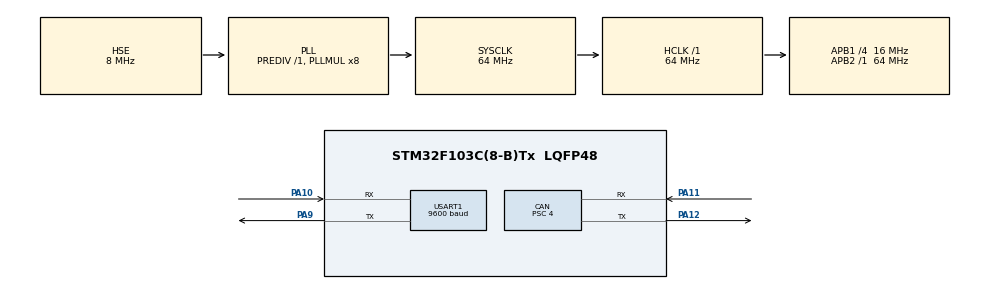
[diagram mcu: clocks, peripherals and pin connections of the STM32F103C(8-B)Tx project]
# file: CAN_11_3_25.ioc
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CAN.ABOM=ENABLE
CAN.AWUM=DISABLE
CAN.BS1=CAN_BS1_13TQ
CAN.BS2=CAN_BS2_2TQ
CAN.CalculateBaudRate=250000
CAN.CalculateTimeBit=4000
CAN.CalculateTimeQuantum=250.0
CAN.Mode=CAN_MODE_SILENT_LOOPBACK
CAN.NART=ENABLE
CAN.Prescaler=4
CAN.TXFP=ENABLE
Mcu.Family=STM32F1
Mcu.Name=STM32F103C(8-B)Tx
Mcu.Package=LQFP48
NVIC.CAN1_SCE_IRQn=true\:2\:0\:true\:false\:true\:true\:true\:true
NVIC.PriorityGroup=NVIC_PRIORITYGROUP_4
NVIC.USB_HP_CAN1_TX_IRQn=true\:3\:0\:true\:false\:true\:true\:true\:true
NVIC.USB_LP_CAN1_RX0_IRQn=true\:1\:0\:true\:false\:true\:true\:true\:true
PA10.Mode=Asynchronous
PA10.Signal=USART1_RX
PA11.GPIO_PuPd=GPIO_PULLUP
PA11.Mode=CAN_Activate
PA11.Signal=CAN_RX
PA12.Mode=CAN_Activate
PA12.Signal=CAN_TX
PA13.Mode=Trace_Asynchronous_SW
PA13.Signal=SYS_JTMS-SWDIO
PA14.Mode=Trace_Asynchronous_SW
PA14.Signal=SYS_JTCK-SWCLK
PA9.Mode=Asynchronous
PA9.Signal=USART1_TX
PB3.Mode=Trace_Asynchronous_SW
PB3.Signal=SYS_JTDO-TRACESWO
PD0-OSC_IN.Mode=HSE-External-Oscillator
PD0-OSC_IN.Signal=RCC_OSC_IN
PD1-OSC_OUT.Mode=HSE-External-Oscillator
PD1-OSC_OUT.Signal=RCC_OSC_OUT
ProjectManager.HeapSize=0x200
ProjectManager.StackSize=0x400
ProjectManager.TargetToolchain=CMake
RCC.AHBFreq_Value=64000000
RCC.APB1CLKDivider=RCC_HCLK_DIV4
RCC.APB1Freq_Value=16000000
RCC.APB1TimFreq_Value=32000000
RCC.APB2Freq_Value=64000000
RCC.APB2TimFreq_Value=64000000
RCC.HCLKFreq_Value=64000000
RCC.PLLMUL=RCC_PLL_MUL8
RCC.PLLSourceVirtual=RCC_PLLSOURCE_HSE
RCC.SYSCLKFreq_VALUE=64000000
RCC.SYSCLKSource=RCC_SYSCLKSOURCE_PLLCLK
RCC.USBFreq_Value=64000000
USART1.BaudRate=9600
USART1.VirtualMode=VM_ASYNC
board=custom

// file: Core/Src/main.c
/* USER CODE BEGIN Header */
/**
  ******************************************************************************
  * @file           : main.c
  * @brief          : Main program body
  ******************************************************************************
  * @attention
  *
  * Copyright (c) 2025 STMicroelectronics.
  * All rights reserved.
  *
  * This software is licensed under terms that can be found in the LICENSE file
  * in the root directory of this software component.
  * If no LICENSE file comes with this software, it is provided AS-IS.
  *
  ******************************************************************************
  */
/* USER CODE END Header */
#include "main.h"

/* USER CODE BEGIN Includes */

#include "UART_LED_Controller.h"
#include "CANbus.h"
#include <string.h>

/* USER CODE END Includes */

CAN_HandleTypeDef hcan;

UART_HandleTypeDef huart1;

/* USER CODE BEGIN PV */
UART_LED_Controller uartController;
CAN_TxHeaderTypeDef TxHeader; // Структура TxHeader отвечает за отправку кадров
CAN_RxHeaderTypeDef RxHeader; // Структура RxHeader отвечает за прием кадров
uint8_t TxData[8] = {0,}; // Массив TxData содержит полезные данные для отправки
uint8_t RxData[8] = {0,}; // Массив RxData содержит принятые полезные данные
uint32_t TxMailbox = 0; // Переменная TxMailbox содержит номер корзины для отправки

/* USER CODE END PV */

void SystemClock_Config(void);
static void MX_GPIO_Init(void);
static void MX_USART1_UART_Init(void);
static void MX_CAN_Init(void);
/* USER CODE BEGIN PFP */
void CAN_Filter_Config();
/* USER CODE END PFP */

/* USER CODE BEGIN 0 */

// Функция callback для приема сообщения (прерывание)
void HAL_CAN_RxFifo0MsgPendingCallback(CAN_HandleTypeDef *hcan)
{
    if(HAL_CAN_GetRxMessage(hcan, CAN_RX_FIFO0, &RxHeader, RxData) == HAL_OK)
    {
      // что нибудь делаем когда пришло сообщение
      if(RxHeader.StdId != 0x0378)
      {
        UART_printf(&uartController, "ID %08lX DLC %d Data: ", RxHeader.ExtId, RxHeader.DLC);
        for (uint8_t i = 0; i < RxHeader.DLC; i++)
        {
          UART_printf(&uartController, "%d ", RxData[i]);
        }
        UART_printf(&uartController, "\r\n");
      }
    }
}

// Функция callback для ошибок CAN (прерывание)
void HAL_CAN_ErrorCallback(CAN_HandleTypeDef *hcan)
{
    uint32_t er = HAL_CAN_GetError(hcan);
    UART_printf(&uartController, "Err CAN DEC:%lu HEX:%08lX\r\n", er, er);

}

/* USER CODE END 0 */

int main(void)
{

  /* MCU Configuration--------------------------------------------------------*/

  /* Reset of all peripherals, Initializes the Flash interface and the Systick. */
  HAL_Init();

  /* USER CODE BEGIN Init */
  UART_LED_Controller_Init(&uartController, &huart1); // Инициализируем контроллер UART
  /* USER CODE END Init */

  /* Configure the system clock */
  SystemClock_Config();

  /* Initialize all configured peripherals */
  MX_GPIO_Init();
  MX_USART1_UART_Init();
  MX_CAN_Init();
  /* USER CODE BEGIN 2 */

  UART_printf(&uartController, "Hello!\r\n");

  CAN_Filter_Config(); // Настраиваем фильтр CAN
  HAL_CAN_Start(&hcan);  // Запускаем контроллер CAN
  HAL_CAN_ActivateNotification(&hcan, CAN_IT_RX_FIFO0_MSG_PENDING | CAN_IT_ERROR | CAN_IT_BUSOFF |  CAN_IT_LAST_ERROR_CODE); // Включаем прерывание приема CAN сообщений | ошибок CAN | ошибок шины | последнего кода ошибки

  /* USER CODE END 2 */

  /* Infinite loop */
  /* USER CODE BEGIN WHILE */
  while (1)
  {

    // отправляем сообщение по CAN
    uint32_t id = 0x0005;
    uint8_t myData[8] = {01, 02, 03, 13};

    if (CAN_SendMessage(&hcan, id, myData, 4) == HAL_OK) {
      // Сообщение отправлено успешно
    } else {
        UART_printf(&uartController, "Error sending CAN message\r\n");
    }
    HAL_Delay(1500);

    // отправляем сообщение по CAN
    id = 0x0001;
    uint8_t newData[8] = {00, 10, 06, 11, 12, 13, 14}; // Объявляем массив newData

    memcpy(myData, newData, sizeof(newData)); // Копируем значения из newData в myData

    if (CAN_SendMessage(&hcan, id, myData, 7) == HAL_OK) {
      // Сообщение отправлено успешно
    } else {
        UART_printf(&uartController, "Error sending CAN message\r\n");
    }

    HAL_Delay(1500);

    /* USER CODE END WHILE */

  }
}

void SystemClock_Config(void)
{
  RCC_OscInitTypeDef RCC_OscInitStruct = {0};
  RCC_ClkInitTypeDef RCC_ClkInitStruct = {0};

  /** Initializes the RCC Oscillators according to the specified parameters
  * in the RCC_OscInitTypeDef structure.
  */
  RCC_OscInitStruct.OscillatorType = RCC_OSCILLATORTYPE_HSE;
  RCC_OscInitStruct.HSEState = RCC_HSE_ON;
  RCC_OscInitStruct.HSEPredivValue = RCC_HSE_PREDIV_DIV1;
  RCC_OscInitStruct.HSIState = RCC_HSI_ON;
  RCC_OscInitStruct.PLL.PLLState = RCC_PLL_ON;
  RCC_OscInitStruct.PLL.PLLSource = RCC_PLLSOURCE_HSE;
  RCC_OscInitStruct.PLL.PLLMUL = RCC_PLL_MUL8;
  if (HAL_RCC_OscConfig(&RCC_OscInitStruct) != HAL_OK)
  {
    Error_Handler();
  }

  /** Initializes the CPU, AHB and APB buses clocks
  */
  RCC_ClkInitStruct.ClockType = RCC_CLOCKTYPE_HCLK|RCC_CLOCKTYPE_SYSCLK
                              |RCC_CLOCKTYPE_PCLK1|RCC_CLOCKTYPE_PCLK2;
  RCC_ClkInitStruct.SYSCLKSource = RCC_SYSCLKSOURCE_PLLCLK;
  RCC_ClkInitStruct.AHBCLKDivider = RCC_SYSCLK_DIV1;
  RCC_ClkInitStruct.APB1CLKDivider = RCC_HCLK_DIV4;
  RCC_ClkInitStruct.APB2CLKDivider = RCC_HCLK_DIV1;

  if (HAL_RCC_ClockConfig(&RCC_ClkInitStruct, FLASH_LATENCY_2) != HAL_OK)
  {
    Error_Handler();
  }
}

static void MX_CAN_Init(void)
{

  hcan.Instance = CAN1;
  hcan.Init.Prescaler = 4;
  // hcan.Init.Mode = CAN_MODE_NORMAL; // для работы
  hcan.Init.Mode = CAN_MODE_SILENT_LOOPBACK; // для отладки без отправки в шину
  // hcan.Init.Mode = CAN_MODE_LOOPBACK; // для отладки с отправкой в шину (без приёма)
  // hcan.Init.Mode = CAN_MODE_SILENT; // приём без отправки
  hcan.Init.SyncJumpWidth = CAN_SJW_1TQ;
  hcan.Init.TimeSeg1 = CAN_BS1_13TQ;
  hcan.Init.TimeSeg2 = CAN_BS2_2TQ;
  hcan.Init.TimeTriggeredMode = DISABLE;
  hcan.Init.AutoBusOff = ENABLE;
  hcan.Init.AutoWakeUp = DISABLE;
  hcan.Init.AutoRetransmission = ENABLE;
  hcan.Init.ReceiveFifoLocked = DISABLE;
  hcan.Init.TransmitFifoPriority = ENABLE;
  if (HAL_CAN_Init(&hcan) != HAL_OK)
  {
    Error_Handler();
  }

}

static void MX_USART1_UART_Init(void)
{

  huart1.Instance = USART1;
  huart1.Init.BaudRate = 9600;
  huart1.Init.WordLength = UART_WORDLENGTH_8B;
  huart1.Init.StopBits = UART_STOPBITS_1;
  huart1.Init.Parity = UART_PARITY_NONE;
  huart1.Init.Mode = UART_MODE_TX_RX;
  huart1.Init.HwFlowCtl = UART_HWCONTROL_NONE;
  huart1.Init.OverSampling = UART_OVERSAMPLING_16;
  if (HAL_UART_Init(&huart1) != HAL_OK)
  {
    Error_Handler();
  }

}

static void MX_GPIO_Init(void)
{

  /* GPIO Ports Clock Enable */
  __HAL_RCC_GPIOD_CLK_ENABLE();
  __HAL_RCC_GPIOA_CLK_ENABLE();
  __HAL_RCC_GPIOB_CLK_ENABLE();

}

/* USER CODE BEGIN 4 */

void CAN_Filter_Config()
{
    CAN_FilterTypeDef sFilterConfig;

    sFilterConfig.FilterBank = 0;                           // Номер банка фильтров
    sFilterConfig.FilterMode = CAN_FILTERMODE_IDMASK;       // Фильтр по маске
    sFilterConfig.FilterScale = CAN_FILTERSCALE_32BIT;      // 32-битный фильтр
    sFilterConfig.FilterIdHigh    = 0x0000;
    sFilterConfig.FilterIdLow     = 0x0004;
    sFilterConfig.FilterMaskIdHigh = 0x0000;
    sFilterConfig.FilterMaskIdLow  = 0x0004;
    sFilterConfig.FilterFIFOAssignment = CAN_FilterFIFO0;   // Используем FIFO0
    sFilterConfig.FilterActivation = ENABLE;                // Включаем фильтр

    if (HAL_CAN_ConfigFilter(&hcan, &sFilterConfig) != HAL_OK)
    {
        Error_Handler();  // Обработчик ошибки
    }
}

/* USER CODE END 4 */

void Error_Handler(void)
{
  __disable_irq();
  while (1)
  {
  }
}
